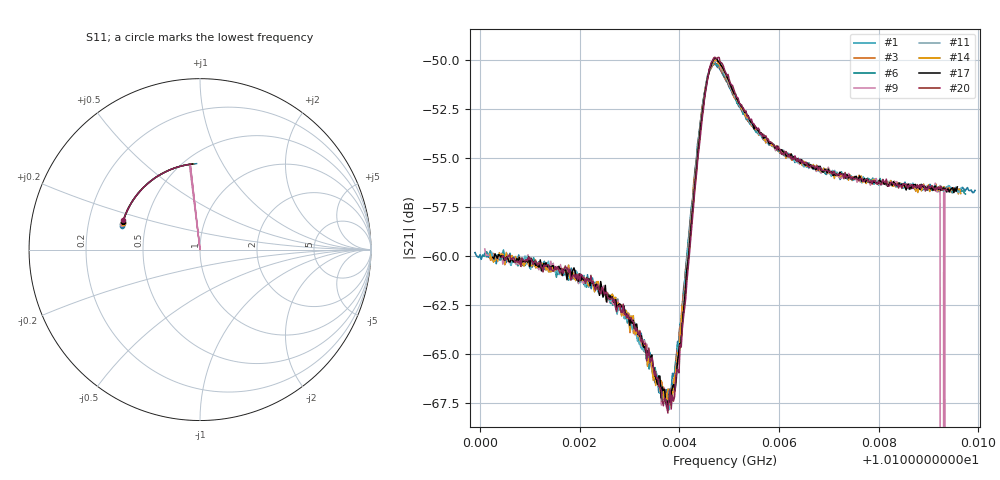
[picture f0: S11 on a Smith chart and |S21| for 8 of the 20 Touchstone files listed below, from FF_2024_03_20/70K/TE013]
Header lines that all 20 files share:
#  HZ  S  RI  R  50.00
! Rohde & Schwarz Vector Network Analyzer
! Rohde-Schwarz,ZNB20-2Port,1311601062101988,3.16
! freq[Hz]  re:S11  im:S11  re:S21  im:S21  re:S12  im:S12  re:S22  im:S22
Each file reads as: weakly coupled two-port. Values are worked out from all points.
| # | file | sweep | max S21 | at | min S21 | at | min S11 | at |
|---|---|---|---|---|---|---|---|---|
| 1 | 0_3_68.5002_70.0413284_67056.313_2.3321328163146973_.s2p | 10.0999 GHz to 10.10993 GHz | -50.15 dB | 10.10472 GHz | -67.3 dB | 10.10369 GHz | -6.4 dB | 10.0999 GHz |
| 2 | 1_3_68.5_70.0366745_66816.664_4.760745525360107_.s2p | 10.10007 GHz to 10.10975 GHz | -50.10 dB | 10.10469 GHz | -67.5 dB | 10.10365 GHz | -6.4 dB | 10.10007 GHz |
| 3 | 2_3_68.4997_70.0382309_66567.031_7.18139386177063_.s2p | 10.10017 GHz to 10.10964 GHz | -50.13 dB | 10.10472 GHz | -67.2 dB | 10.10375 GHz | -6.4 dB | 10.10017 GHz |
| 4 | 3_3_68.5_70.0358429_66347.617_9.617154598236084_.s2p | 10.10001 GHz to 10.10982 GHz | -50.16 dB | 10.10472 GHz | -67.5 dB | 10.10376 GHz | -6.4 dB | 10.10001 GHz |
| 5 | 4_3_68.5004_70.0358429_66077.555_12.056882381439209_.s2p | 10.10004 GHz to 10.10979 GHz | -50.11 dB | 10.10472 GHz | -67.4 dB | 10.10372 GHz | -6.4 dB | 10.10006 GHz |
| 6 | 5_3_68.5004_70.0373611_65808.211_14.625806331634521_.s2p | 10.10009 GHz to 10.10974 GHz | -50.14 dB | 10.10472 GHz | -67.6 dB | 10.10376 GHz | -6.4 dB | 10.10009 GHz |
| 7 | 6_3_68.5_70.0403976_65588.383_17.037110805511475_.s2p | 10.09999 GHz to 10.10984 GHz | -50.09 dB | 10.10474 GHz | -67.4 dB | 10.10376 GHz | -6.4 dB | 10.10002 GHz |
| 8 | 7_3_68.5006_70.0387726_65329.25_19.47067666053772_.s2p | 10.10017 GHz to 10.10965 GHz | -50.06 dB | 10.1047 GHz | -67.9 dB | 10.10372 GHz | -6.4 dB | 10.10019 GHz |
| 9 | 8_3_68.5002_70.0422363_65099.34_21.90671706199646_.s2p | 10.1001 GHz to 10.10974 GHz | -50.03 dB | 10.10475 GHz | -67.9 dB | 10.10376 GHz | -6.4 dB | 10.1001 GHz |
| 10 | 9_3_68.5003_70.0436401_64839.492_24.339499473571777_.s2p | 10.10009 GHz to 10.10975 GHz | -50.05 dB | 10.10472 GHz | -67.4 dB | 10.10376 GHz | -6.4 dB | 10.10009 GHz |
| 11 | 10_3_68.5002_70.0433121_64619.852_26.77896237373352_.s2p | 10.10017 GHz to 10.10966 GHz | -49.99 dB | 10.10474 GHz | -67.9 dB | 10.1038 GHz | -6.4 dB | 10.10017 GHz |
| 12 | 11_3_68.4996_70.0396347_64370.137_29.18590235710144_.s2p | 10.1002 GHz to 10.10963 GHz | -50.00 dB | 10.10473 GHz | -67.5 dB | 10.10381 GHz | -6.4 dB | 10.1002 GHz |
| 13 | 12_3_68.4999_70.039856_64120.859_31.59230375289917_.s2p | 10.10018 GHz to 10.10965 GHz | -49.97 dB | 10.10468 GHz | -68.0 dB | 10.10381 GHz | -6.4 dB | 10.10018 GHz |
| 14 | 13_3_68.5002_70.0406113_63910.563_34.00844168663025_.s2p | 10.1002 GHz to 10.10963 GHz | -49.96 dB | 10.10475 GHz | -67.6 dB | 10.10379 GHz | -6.4 dB | 10.1002 GHz |
| 15 | 14_3_68.5004_70.045372_63640.633_36.53423595428467_.s2p | 10.10024 GHz to 10.1096 GHz | -49.96 dB | 10.10473 GHz | -67.6 dB | 10.10375 GHz | -6.4 dB | 10.10024 GHz |
| 16 | 15_3_68.4999_70.0448303_63410.973_38.94244170188904_.s2p | 10.10028 GHz to 10.10955 GHz | -49.97 dB | 10.10478 GHz | -67.9 dB | 10.10373 GHz | -6.4 dB | 10.1003 GHz |
| 17 | 16_3_68.5002_70.0451584_63161.301_41.34110498428345_.s2p | 10.10026 GHz to 10.10958 GHz | -49.89 dB | 10.10471 GHz | -67.7 dB | 10.10375 GHz | -6.4 dB | 10.10028 GHz |
| 18 | 17_3_68.4987_70.0430984_62911.969_43.737855672836304_.s2p | 10.10025 GHz to 10.10959 GHz | -49.92 dB | 10.10476 GHz | -67.8 dB | 10.1038 GHz | -6.4 dB | 10.10025 GHz |
| 19 | 18_3_68.5005_70.0461349_62053.031_52.30455493927002_.s2p | 10.1003 GHz to 10.10954 GHz | -49.89 dB | 10.10471 GHz | -67.9 dB | 10.10372 GHz | -6.4 dB | 10.10032 GHz |
| 20 | 19_3_68.5004_70.0449371_61812.984_54.73573422431946_.s2p | 10.10044 GHz to 10.10938 GHz | -49.84 dB | 10.10471 GHz | -68.0 dB | 10.10377 GHz | -6.4 dB | 10.10044 GHz |
